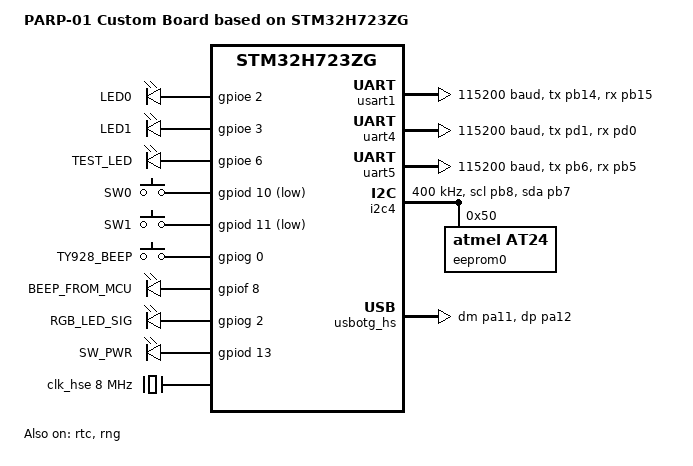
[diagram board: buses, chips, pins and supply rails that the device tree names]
/dts-v1/;

#include <st/h7/stm32h723Xg.dtsi>
#include <st/h7/stm32h723zgtx-pinctrl.dtsi>
#include <zephyr/dt-bindings/input/input-event-codes.h>

/ {
	model = "PARP-01 Custom Board based on STM32H723ZG";
	compatible = "st,stm32h723zg-nucleo";

	chosen {
		zephyr,console = &usart1;
		zephyr,shell-uart = &usart1;
		zephyr,sram = &sram0;
		zephyr,flash = &flash0;
		zephyr,dtcm = &dtcm;
		zephyr,code-partition = &slot0_partition;
	};

	/* Custom LEDs */
	leds {
		compatible = "gpio-leds";

		led0: led_0 {
			gpios = <&gpioe 2 GPIO_ACTIVE_HIGH>;
			label = "LED0";
		};

		led1: led_1 {
			gpios = <&gpioe 3 GPIO_ACTIVE_HIGH>;
			label = "LED1";
		};

		test_led: led_test {
			gpios = <&gpioe 6 GPIO_ACTIVE_HIGH>;
			label = "TEST_LED";
		};
	};

	/* Custom GPIO Keys (Switches) */
	gpio_keys {
		compatible = "gpio-keys";

		sw0: switch_0 {
			gpios = <&gpiod 10 (GPIO_ACTIVE_LOW | GPIO_PULL_UP)>;
			label = "SW0";
			zephyr,code = <INPUT_KEY_0>;
		};

		sw1: switch_1 {
			gpios = <&gpiod 11 (GPIO_ACTIVE_LOW | GPIO_PULL_UP)>;
			label = "SW1";
			zephyr,code = <INPUT_KEY_1>;
		};

		e310_beep: e310_beep {
			gpios = <&gpiog 0 GPIO_ACTIVE_HIGH>;
			label = "TY928_BEEP";
			zephyr,code = <INPUT_KEY_2>;
		};
	};

	/* DI/DO pins for beeper and RGB LED */
	dio {
		compatible = "gpio-leds";

		beep_out: beep_out {
			gpios = <&gpiof 8 GPIO_ACTIVE_HIGH>;
			label = "BEEP_FROM_MCU";
		};

		rgb_led_sig: rgb_led_sig {
			gpios = <&gpiog 2 GPIO_ACTIVE_HIGH>;
			label = "RGB_LED_SIG";
		};

		/* PD13 - Switch power supply (must output LOW for SW0/SW1) */
		sw_pwr: sw_pwr {
			gpios = <&gpiod 13 GPIO_ACTIVE_HIGH>;
			label = "SW_PWR";
		};
	};

	aliases {
		led0 = &led0;
		led1 = &led1;
		testled = &test_led;
		sw0 = &sw0;
		sw1 = &sw1;
		eeprom-0 = &eeprom0;
		beep-out = &beep_out;
		rgb-led = &rgb_led_sig;
		e310-beep = &e310_beep;
		sw-pwr = &sw_pwr;
	};
};

/* Clock Configuration - Custom Board with External Crystals
 * HSE: 8MHz external crystal (NOT bypass - real crystal oscillator)
 * LSE: 32.768kHz external crystal for RTC
 * HSI: Keep enabled as backup
 * HSI48: For USB (matches STM32CubeIDE config)
 */

&clk_hse {
	clock-frequency = <DT_FREQ_M(8)>;
	status = "okay";
};

&clk_lse {
	clock-frequency = <32768>;
	status = "disabled";
};

&clk_lsi {
	status = "okay";
};

&clk_hsi {
	status = "okay";
};

&clk_hsi48 {
	status = "okay";
};

/* PLL Configuration - 550MHz SYSCLK (Same as official Nucleo H723ZG)
 *
 * STM32H723 Maximum Frequencies:
 *   - SYSCLK max: 550 MHz
 *   - AHB max: 275 MHz
 *   - APBx max: 137.5 MHz
 *
 * Configuration:
 *   HSE = 8MHz external crystal
 *   M=4 -> VCO input = 2MHz
 *   N=275 -> VCO output = 550MHz
 *   P=1 -> SYSCLK = 550MHz
 *   Q=4 -> 137.5MHz output for peripherals
 *   R=2 -> 275MHz output
 */
&pll {
	div-m = <4>;
	mul-n = <275>;
	div-p = <1>;
	div-q = <4>;
	div-r = <2>;
	clocks = <&clk_hse>;
	status = "okay";
};

/* RCC Configuration for 550MHz SYSCLK (Same as official Nucleo H723ZG)
 *
 * SYSCLK = 550 MHz
 * HCLK = SYSCLK / 2 = 275 MHz
 * APBx = HCLK / 2 = 137.5 MHz
 */
&rcc {
	clocks = <&pll>;
	clock-frequency = <DT_FREQ_M(550)>;
	d1cpre = <1>;
	hpre = <2>;    /* HCLK = SYSCLK / 2 = 275 MHz */
	d1ppre = <2>;  /* APB3 = HCLK / 2 = 137.5 MHz */
	d2ppre1 = <2>; /* APB1 = HCLK / 2 = 137.5 MHz */
	d2ppre2 = <2>; /* APB2 = HCLK / 2 = 137.5 MHz (USART1) */
	d3ppre = <2>;  /* APB4 = HCLK / 2 = 137.5 MHz */
};

/* Power supply configuration */
&pwr {
	power-supply = "ldo";
};

/* UART1 - Console (PB14-TX, PB15-RX) */
&usart1 {
	pinctrl-0 = <&usart1_tx_pb14 &usart1_rx_pb15>;
	pinctrl-names = "default";
	current-speed = <115200>;
	status = "okay";
};

/* UART4 (PD0-RX, PD1-TX) */
&uart4 {
	pinctrl-0 = <&uart4_tx_pd1 &uart4_rx_pd0>;
	pinctrl-names = "default";
	current-speed = <115200>;
	status = "okay";
};

/* UART5 (PB6-TX, PB5-RX) */
&uart5 {
	pinctrl-0 = <&uart5_tx_pb6 &uart5_rx_pb5>;
	pinctrl-names = "default";
	current-speed = <115200>;
	status = "okay";
};

/* I2C4 (PB8-SCL, PB7-SDA) */
&i2c4 {
	pinctrl-0 = <&i2c4_scl_pb8 &i2c4_sda_pb7>;
	pinctrl-names = "default";
	status = "okay";
	clock-frequency = <I2C_BITRATE_FAST>; /* 400kHz */

	/* M24C64 EEPROM - 64Kbit (8KB) */
	eeprom0: m24c64@50 {
		compatible = "atmel,at24";
		reg = <0x50>;
		size = <8192>; /* 8KB = 64Kbit */
		pagesize = <32>; /* M24C64 has 32-byte page size */
		address-width = <16>; /* 16-bit addressing for 8KB */
		timeout = <5>;
	};
};

/* SDMMC1 (PC8-D0, PC9-D1, PC10-D2, PC11-D3, PD2-CMD, PC12-CK, PA8-DT) */
&sdmmc1 {
	status = "disabled";
};

/* USB OTG HS (PA9-VBUS, PA11-DM, PA12-DP) */
zephyr_udc0: &usbotg_hs {
	pinctrl-0 = <&usb_otg_hs_dm_pa11 &usb_otg_hs_dp_pa12>;
	pinctrl-names = "default";
	status = "okay";

	hid_0: hid_0 {
		compatible = "zephyr,hid-device";
		label = "HID_KEYBOARD";
		protocol-code = "keyboard";
		in-report-size = <8>;
		out-report-size = <1>;
		in-polling-period-us = <1000>;
		out-polling-period-us = <1000>;
	};
};

/* RTC with LSE as clock source */
&rtc {
	clocks = <&rcc STM32_CLOCK_BUS_APB4 0x00010000>,
		 <&rcc STM32_SRC_LSE RTC_SEL(1)>; /* Use LSE instead of LSI */
	status = "okay";
};

/* Backup SRAM */
&backup_sram {
	status = "okay";
};

/* Random Number Generator */
&rng {
	status = "okay";
};

/* Flash partitions */
&flash0 {
	partitions {
		compatible = "fixed-partitions";
		#address-cells = <1>;
		#size-cells = <1>;

		slot0_partition: partition@0 {
			label = "image-0";
			reg = <0x00000000 DT_SIZE_K(1024)>;
		};
	};
};

/* Disable unused peripherals */

/* Disable USART2 (not used) */
&usart2 {
	status = "disabled";
};

/* Disable USART3 (not used) */
&usart3 {
	status = "disabled";
};

/* Disable LPUART1 (not used) */
&lpuart1 {
	status = "disabled";
};

/* Disable I2C1 (using I2C4 instead) */
&i2c1 {
	status = "disabled";
};

/* Disable SPI1 (not used) */
&spi1 {
	status = "disabled";
};

/* Disable Ethernet (not used) */
&mac {
	status = "disabled";
};

&mdio {
	status = "disabled";
};

/* Disable FDCAN1 (not used) */
&fdcan1 {
	status = "disabled";
};
